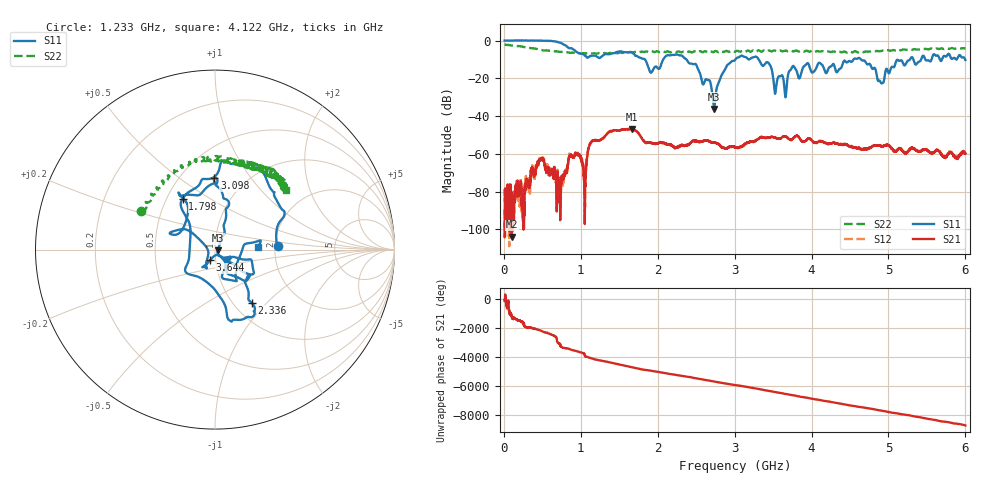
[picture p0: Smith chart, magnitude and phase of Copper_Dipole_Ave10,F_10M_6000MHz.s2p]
!  08/05/2026  13:53:00
! Ref Plane: 0.000 mm
# MHZ S MA R  50
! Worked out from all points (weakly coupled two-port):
!   4001 points, 10 MHz to 6 GHz, reference 50 ohm
!   highest |S21| = -46.79 dB at 1.671 GHz (marker M1); lowest = -103.9 dB at 104.3 MHz (marker M2)
!   lowest |S11| = -36.3 dB at 2.734 GHz (marker M3), VSWR 1.03, Z = 51.5 - j0.389 ohm
!   |S11| at or under -10 dB: 2.374 GHz to 3.011 GHz (637 MHz wide, 23.7 % of centre); 3.313 GHz to 4.546 GHz (1.233 GHz wide, 31.4 % of centre); 4.642 GHz to 5.28 GHz (637.8 MHz wide, 12.9 % of centre)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
!   |S22| runs from -7.0 to -2.1 dB; largest |S21 - S12| = 0.00021
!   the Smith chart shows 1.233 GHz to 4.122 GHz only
!   S11 on the Smith chart (normalised r, x): 1.233 GHz: 2.07, +0.09; 1.798 GHz: 0.60, +0.38; 2.336 GHz: 1.21, -0.83; 3.098 GHz: 0.72, +0.68; 3.644 GHz: 0.94, -0.11; 4.122 GHz: 1.63, +0.04
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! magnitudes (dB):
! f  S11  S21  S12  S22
! 10 MHz  0.0  -79.3  -89.7  -2.1
! 104.3 MHz  0.0  -103.9  -89.7  -2.6
! 484.7 MHz  0.0  -62.4  -63.4  -4.9
! 712.3 MHz  -0.9  -75.8  -80.6  -5.9
! 866.6 MHz  -4.0  -60.4  -60.8  -6.5
! 1.009 GHz  -7.0  -63.0  -63.2  -6.8
! 1.049 GHz  -7.9  -79.7  -79.0  -6.7
! 1.123 GHz  -8.2  -54.5  -54.7  -6.9
! 1.233 GHz  -9.1  -53.1  -52.9  -6.6
! 1.671 GHz  -6.5  -46.8  -46.9  -6.2
! 1.798 GHz  -9.5  -52.1  -52.2  -5.9
! 2.008 GHz  -14.9  -54.4  -54.4  -5.9
! 2.336 GHz  -8.8  -55.6  -55.8  -5.8
! 2.734 GHz  -36.3  -53.9  -53.9  -5.9
! 3.005 GHz  -10.3  -56.7  -56.4  -5.9
! 3.098 GHz  -8.0  -56.0  -56.1  -5.4
! 3.644 GHz  -23.8  -50.8  -50.7  -5.4
! 3.752 GHz  -13.7  -52.1  -52.1  -5.6
! 4.004 GHz  -16.8  -53.0  -52.9  -5.4
! 4.122 GHz  -12.4  -53.5  -53.2  -5.7
! 5.003 GHz  -17.3  -55.6  -55.7  -5.2
! 6 GHz  -10.3  -59.9  -60.5  -4.2
